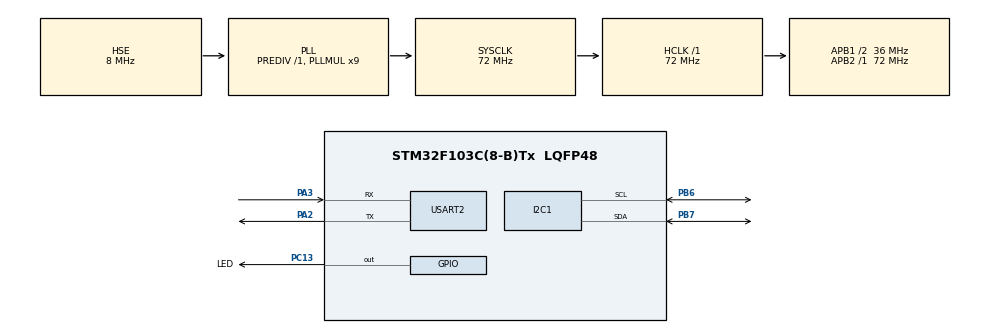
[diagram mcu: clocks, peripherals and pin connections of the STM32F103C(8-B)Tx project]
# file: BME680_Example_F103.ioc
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I2C1.I2C_Mode=I2C_Fast
Mcu.Family=STM32F1
Mcu.Name=STM32F103C(8-B)Tx
Mcu.Package=LQFP48
NVIC.PriorityGroup=NVIC_PRIORITYGROUP_4
PA13.Mode=Serial_Wire
PA13.Signal=SYS_JTMS-SWDIO
PA14.Mode=Serial_Wire
PA14.Signal=SYS_JTCK-SWCLK
PA2.Mode=Asynchronous
PA2.Signal=USART2_TX
PA3.Mode=Asynchronous
PA3.Signal=USART2_RX
PB6.Mode=I2C
PB6.Signal=I2C1_SCL
PB7.Mode=I2C
PB7.Signal=I2C1_SDA
PC13-TAMPER-RTC.GPIO_Label=LED
PC13-TAMPER-RTC.PinState=GPIO_PIN_SET
PC13-TAMPER-RTC.Signal=GPIO_Output
PD0-OSC_IN.Mode=HSE-External-Oscillator
PD0-OSC_IN.Signal=RCC_OSC_IN
PD1-OSC_OUT.Mode=HSE-External-Oscillator
PD1-OSC_OUT.Signal=RCC_OSC_OUT
ProjectManager.HeapSize=0x200
ProjectManager.StackSize=0x400
ProjectManager.TargetToolchain=STM32CubeIDE
RCC.AHBFreq_Value=72000000
RCC.APB1CLKDivider=RCC_HCLK_DIV2
RCC.APB1Freq_Value=36000000
RCC.APB1TimFreq_Value=72000000
RCC.APB2Freq_Value=72000000
RCC.APB2TimFreq_Value=72000000
RCC.HCLKFreq_Value=72000000
RCC.PLLMUL=RCC_PLL_MUL9
RCC.PLLSourceVirtual=RCC_PLLSOURCE_HSE
RCC.SYSCLKFreq_VALUE=72000000
RCC.SYSCLKSource=RCC_SYSCLKSOURCE_PLLCLK
RCC.USBFreq_Value=72000000
USART2.VirtualMode=VM_ASYNC
board=custom

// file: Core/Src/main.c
/* USER CODE BEGIN Header */
/**
  ******************************************************************************
  * @file           : main.c
  * @brief          : Main program body
  ******************************************************************************
  * @attention
  *
  * Copyright (c) 2024 STMicroelectronics.
  * All rights reserved.
  *
  * This software is licensed under terms that can be found in the LICENSE file
  * in the root directory of this software component.
  * If no LICENSE file comes with this software, it is provided AS-IS.
  *
  ******************************************************************************
  */
/* USER CODE END Header */
#include "main.h"

/* USER CODE BEGIN Includes */
#include "stdio.h"
#include "string.h"
#include "stdlib.h"
#include "bme680.h"
/* USER CODE END Includes */

I2C_HandleTypeDef hi2c1;

UART_HandleTypeDef huart2;

void SystemClock_Config(void);
static void MX_GPIO_Init(void);
static void MX_I2C1_Init(void);
static void MX_USART2_UART_Init(void);

/* USER CODE BEGIN 0 */

void user_delay_ms(uint32_t period)
{
    /*
     * Return control or wait,
     * for a period amount of milliseconds
     */
	HAL_Delay(period);
}

int8_t user_i2c_read(uint8_t dev_id, uint8_t reg_addr, uint8_t *reg_data, uint16_t len)
{
    int8_t rslt = 0; /* Return 0 for Success, non-zero for failure */

    /*
	 * The parameter dev_id can be used as a variable to store the I2C address of the device
	 */

	/*
	 * Data on the bus should be like
	 * |------------+---------------------|
	 * | I2C action | Data                |
	 * |------------+---------------------|
	 * | Start      | -                   |
	 * | Write      | (reg_addr)          |
	 * | Stop       | -                   |
	 * | Start      | -                   |
	 * | Read       | (reg_data[0])       |
	 * | Read       | (....)              |
	 * | Read       | (reg_data[len - 1]) |
	 * | Stop       | -                   |
	 * |------------+---------------------|
	 */

    rslt = HAL_I2C_Master_Transmit(&hi2c1, (dev_id << 1), &reg_addr, 1, HAL_MAX_DELAY);
    if(rslt != HAL_OK)
    	return -1;

    rslt = HAL_I2C_Master_Receive(&hi2c1, (dev_id << 1) | 0x01U, reg_data, len, HAL_MAX_DELAY);
    if(rslt != HAL_OK)
    	return -1;
    else
    	return 0;
}

int8_t user_i2c_write(uint8_t dev_id, uint8_t reg_addr, uint8_t *reg_data, uint16_t len)
{
    int8_t rslt = 0; /* Return 0 for Success, non-zero for failure */

    /*
     * The parameter dev_id can be used as a variable to store the I2C address of the device
     */

    /*
     * Data on the bus should be like
     * |------------+---------------------|
     * | I2C action | Data                |
     * |------------+---------------------|
     * | Start      | -                   |
     * | Write      | (reg_addr)          |
     * | Write      | (reg_data[0])       |
     * | Write      | (....)              |
     * | Write      | (reg_data[len - 1]) |
     * | Stop       | -                   |
     * |------------+---------------------|
     */

    uint8_t *data;

    data = (uint8_t *)malloc(len + 1);
    data[0] = reg_addr;
    memcpy(data+1, reg_data, len);

    if(HAL_I2C_Master_Transmit(&hi2c1, (dev_id << 1), data, len+1, HAL_MAX_DELAY) != HAL_OK)
    	rslt = -1;
    else
    	rslt = 0;

    free(data);

    return rslt;
}

int _write(int fd, char* ptr, int len)
{
	HAL_UART_Transmit(&huart2, (uint8_t *) ptr, len, HAL_MAX_DELAY);
    return len;
}
/* USER CODE END 0 */

int main(void)
{

  /* MCU Configuration--------------------------------------------------------*/

  /* Reset of all peripherals, Initializes the Flash interface and the Systick. */
  HAL_Init();

  /* Configure the system clock */
  SystemClock_Config();

  /* Initialize all configured peripherals */
  MX_GPIO_Init();
  MX_I2C1_Init();
  MX_USART2_UART_Init();
  /* USER CODE BEGIN 2 */

  printf("\nPrograma para Sensor BME680\n\n");

  struct bme680_dev gas_sensor;

  memset(&gas_sensor, 0, sizeof(gas_sensor));

	gas_sensor.dev_id = BME680_I2C_ADDR_SECONDARY; //Se considera la dirección 2 debido a que SDO queda conectado a VCC por medio de PULL-UP.
	gas_sensor.intf = BME680_I2C_INTF;
	gas_sensor.read = user_i2c_read;
	gas_sensor.write = user_i2c_write;
	gas_sensor.delay_ms = user_delay_ms;
	/* amb_temp can be set to 25 prior to configuring the gas sensor
	* or by performing a few temperature readings without operating the gas sensor.
	*/
	gas_sensor.amb_temp = 25;

	int8_t rslt = BME680_OK;

	if(bme680_init(&gas_sensor) != BME680_OK)
	{
		printf("Error al inicializar el sensor.\n");
		while(1)
			;
	}
	else
		printf("Sensor inicializado con exito.\n");

	// Select desired oversampling rates
	gas_sensor.tph_sett.os_hum = BME680_OS_2X;
	gas_sensor.tph_sett.os_pres = BME680_OS_4X;
	gas_sensor.tph_sett.os_temp = BME680_OS_8X;

	// Set sensor to "always on"
	gas_sensor.power_mode = BME680_FORCED_MODE;

	// Set oversampling settings
	uint8_t required_settings = (BME680_OST_SEL | BME680_OSP_SEL | BME680_OSH_SEL);
	rslt = bme680_set_sensor_settings(required_settings, &gas_sensor);

	// Set sensor mode
	rslt = bme680_set_sensor_mode(&gas_sensor);
  /* USER CODE END 2 */

  /* Infinite loop */
  /* USER CODE BEGIN WHILE */
	/* Get the total measurement duration so as to sleep or wait till the
	 * measurement is complete */
	uint16_t meas_period;

	bme680_get_profile_dur(&meas_period, &gas_sensor);

	struct bme680_field_data data;

  while (1)
  {
    /* USER CODE END WHILE */

    /* USER CODE BEGIN 3 */
	printf("Comenzara la Medicion...\n");
	user_delay_ms(meas_period); /* Delay till the measurement is ready */

	rslt = bme680_get_sensor_data(&data, &gas_sensor);

	if(rslt!= BME680_OK)
	{
		printf("Error, BM680 No. %d.\n", rslt);
	}
	else
	{
		printf("T: %.2f degC, P: %.2f hPa, H %.2f %%rH ", data.temperature / 100.0f,
		  data.pressure / 100.0f, data.humidity / 1000.0f );
		/* Avoid using measurements from an unstable heating setup */
		if(data.status & BME680_GASM_VALID_MSK)
		  printf(", G: %ld ohms", data.gas_resistance);

		printf("\n");

		/* Trigger the next measurement if you would like to read data out continuously */
		if (gas_sensor.power_mode == BME680_FORCED_MODE) {
		  bme680_set_sensor_mode(&gas_sensor);
		}
	}
	HAL_Delay(1000);
  }
  /* USER CODE END 3 */
}

void SystemClock_Config(void)
{
  RCC_OscInitTypeDef RCC_OscInitStruct = {0};
  RCC_ClkInitTypeDef RCC_ClkInitStruct = {0};

  /** Initializes the RCC Oscillators according to the specified parameters
  * in the RCC_OscInitTypeDef structure.
  */
  RCC_OscInitStruct.OscillatorType = RCC_OSCILLATORTYPE_HSE;
  RCC_OscInitStruct.HSEState = RCC_HSE_ON;
  RCC_OscInitStruct.HSEPredivValue = RCC_HSE_PREDIV_DIV1;
  RCC_OscInitStruct.HSIState = RCC_HSI_ON;
  RCC_OscInitStruct.PLL.PLLState = RCC_PLL_ON;
  RCC_OscInitStruct.PLL.PLLSource = RCC_PLLSOURCE_HSE;
  RCC_OscInitStruct.PLL.PLLMUL = RCC_PLL_MUL9;
  if (HAL_RCC_OscConfig(&RCC_OscInitStruct) != HAL_OK)
  {
    Error_Handler();
  }

  /** Initializes the CPU, AHB and APB buses clocks
  */
  RCC_ClkInitStruct.ClockType = RCC_CLOCKTYPE_HCLK|RCC_CLOCKTYPE_SYSCLK
                              |RCC_CLOCKTYPE_PCLK1|RCC_CLOCKTYPE_PCLK2;
  RCC_ClkInitStruct.SYSCLKSource = RCC_SYSCLKSOURCE_PLLCLK;
  RCC_ClkInitStruct.AHBCLKDivider = RCC_SYSCLK_DIV1;
  RCC_ClkInitStruct.APB1CLKDivider = RCC_HCLK_DIV2;
  RCC_ClkInitStruct.APB2CLKDivider = RCC_HCLK_DIV1;

  if (HAL_RCC_ClockConfig(&RCC_ClkInitStruct, FLASH_LATENCY_2) != HAL_OK)
  {
    Error_Handler();
  }
}

static void MX_I2C1_Init(void)
{

  hi2c1.Instance = I2C1;
  hi2c1.Init.ClockSpeed = 400000;
  hi2c1.Init.DutyCycle = I2C_DUTYCYCLE_2;
  hi2c1.Init.OwnAddress1 = 0;
  hi2c1.Init.AddressingMode = I2C_ADDRESSINGMODE_7BIT;
  hi2c1.Init.DualAddressMode = I2C_DUALADDRESS_DISABLE;
  hi2c1.Init.OwnAddress2 = 0;
  hi2c1.Init.GeneralCallMode = I2C_GENERALCALL_DISABLE;
  hi2c1.Init.NoStretchMode = I2C_NOSTRETCH_DISABLE;
  if (HAL_I2C_Init(&hi2c1) != HAL_OK)
  {
    Error_Handler();
  }

}

static void MX_USART2_UART_Init(void)
{

  huart2.Instance = USART2;
  huart2.Init.BaudRate = 115200;
  huart2.Init.WordLength = UART_WORDLENGTH_8B;
  huart2.Init.StopBits = UART_STOPBITS_1;
  huart2.Init.Parity = UART_PARITY_NONE;
  huart2.Init.Mode = UART_MODE_TX_RX;
  huart2.Init.HwFlowCtl = UART_HWCONTROL_NONE;
  huart2.Init.OverSampling = UART_OVERSAMPLING_16;
  if (HAL_UART_Init(&huart2) != HAL_OK)
  {
    Error_Handler();
  }

}

static void MX_GPIO_Init(void)
{
  GPIO_InitTypeDef GPIO_InitStruct = {0};

  /* GPIO Ports Clock Enable */
  __HAL_RCC_GPIOC_CLK_ENABLE();
  __HAL_RCC_GPIOD_CLK_ENABLE();
  __HAL_RCC_GPIOA_CLK_ENABLE();
  __HAL_RCC_GPIOB_CLK_ENABLE();

  /*Configure GPIO pin Output Level */
  HAL_GPIO_WritePin(LED_GPIO_Port, LED_Pin, GPIO_PIN_SET);

  /*Configure GPIO pin : LED_Pin */
  GPIO_InitStruct.Pin = LED_Pin;
  GPIO_InitStruct.Mode = GPIO_MODE_OUTPUT_PP;
  GPIO_InitStruct.Pull = GPIO_NOPULL;
  GPIO_InitStruct.Speed = GPIO_SPEED_FREQ_LOW;
  HAL_GPIO_Init(LED_GPIO_Port, &GPIO_InitStruct);

}

void Error_Handler(void)
{
  __disable_irq();
  while (1)
  {
  }
}
